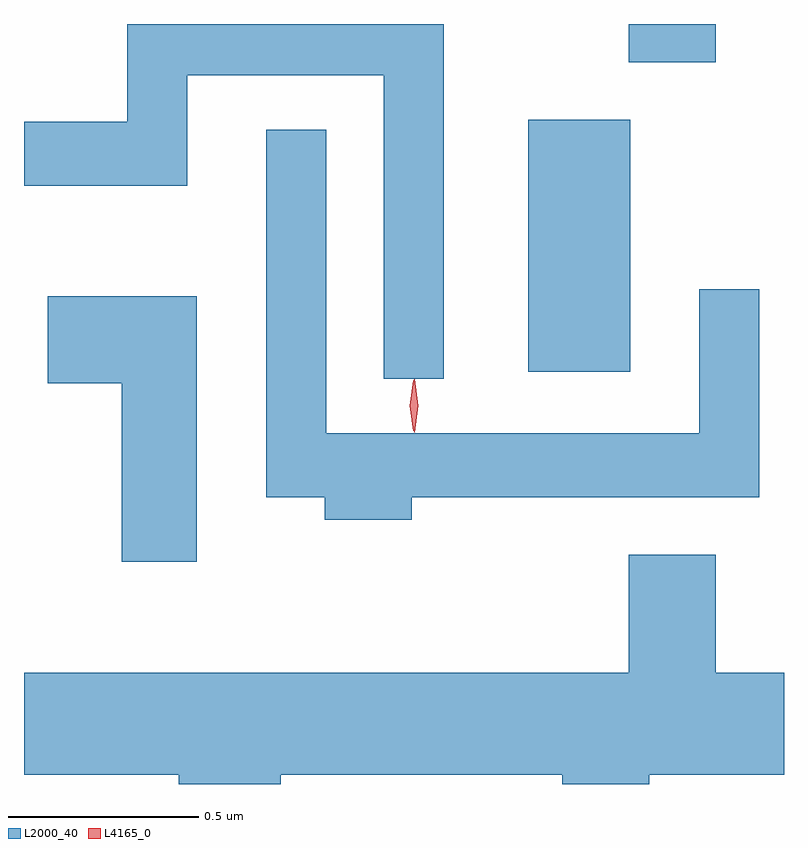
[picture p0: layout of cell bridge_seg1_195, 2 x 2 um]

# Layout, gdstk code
import gdstk
lib = gdstk.Library(unit=1e-6, precision=1e-09)
def R(c, l, rs):  # rectangles x0, y0, x1, y1
    for r in rs: c.add(gdstk.rectangle(r[:2], r[2:], *l))
def P(c, l, *ps):  # polygons
    for p in ps: c.add(gdstk.Polygon(p, *l))
L2000_40 = (2000, 40)
L4165_0 = (4165, 0)

bridge_seg1_195 = lib.new_cell('bridge_seg1_195')
R(bridge_seg1_195, L2000_40, [(795.416,931.716,795.684,932.379), (795.681,932.531,795.909,932.631)])
P(bridge_seg1_195, L2000_40, [(795.194,932.631),(794.361,932.631),(794.361,932.374),(794.089,932.374),(794.089,932.206),(794.519,932.206),(794.519,932.496),(795.036,932.496),(795.036,931.698),(795.194,931.698)],
  [(795.109,931.386),(796.024,931.386),(796.024,931.933),(795.866,931.933),(795.866,931.554),(794.884,931.554),(794.884,932.353),(794.726,932.353),(794.726,931.386),(794.881,931.386),(794.881,931.326),(795.109,931.326)],
  [(794.544,931.914),(794.151,931.914),(794.151,931.686),(794.346,931.686),(794.346,931.216),(794.544,931.216)],
  [(794.764,930.656),(795.506,930.656),(795.506,930.631),(795.734,930.631),(795.734,930.656),(796.089,930.656),(796.089,930.924),(795.909,930.924),(795.909,931.234),(795.681,931.234),(795.681,930.924),(794.089,930.924),(794.089,930.656),(794.496,930.656),(794.496,930.631),(794.764,930.631)])
P(bridge_seg1_195, L4165_0, [(795.113,931.56),(795.104,931.626),(795.113,931.692),(795.114,931.693),(795.114,931.692),(795.124,931.626),(795.114,931.56),(795.114,931.56)],
  [(795.116,931.557),(795.116,931.557),(795.106,931.627),(795.116,931.696),(795.116,931.696),(795.117,931.696),(795.126,931.627),(795.117,931.557)])

lib.write_gds('bridge_seg1_195.gds')
